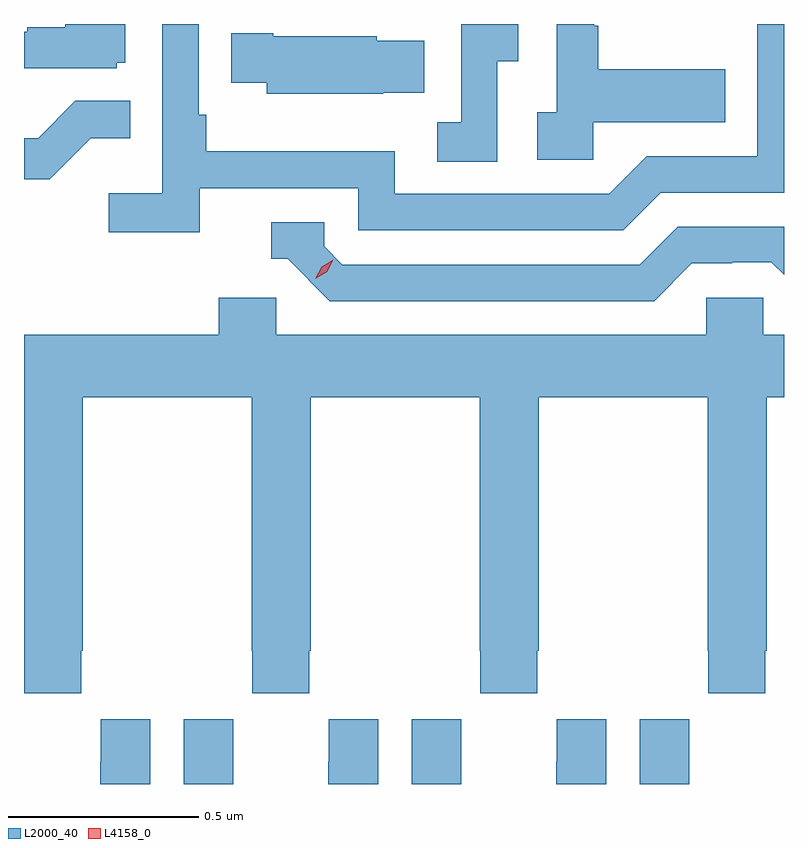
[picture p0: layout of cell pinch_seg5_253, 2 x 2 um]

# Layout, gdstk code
import gdstk
lib = gdstk.Library(unit=1e-6, precision=1e-09)
def P(c, l, *ps):  # polygons
    for p in ps: c.add(gdstk.Polygon(p, *l))
L2000_40 = (2000, 40)
L4158_0 = (4158, 0)

pinch_seg5_253 = lib.new_cell('pinch_seg5_253')
P(pinch_seg5_253, L2000_40, [(949.254,909.592),(949.309,909.592),(949.309,909.69),(949.158,909.69),(949.158,909.431),(949.095,909.431),(949.095,909.328),(949.254,909.328)],
  [(949.506,909.431),(949.853,909.431),(949.853,909.571),(949.519,909.571),(949.519,909.686),(949.509,909.686),(949.509,909.69),(949.41,909.69),(949.41,909.458),(949.359,909.458),(949.359,909.333),(949.506,909.333)],
  [(948.252,909.588),(948.274,909.588),(948.274,909.69),(948.116,909.69),(948.116,909.682),(948.017,909.682),(948.017,909.669),(948.008,909.669),(948.008,909.573),(948.252,909.573)],
  [(948.47,909.258),(948.888,909.258),(948.888,909.147),(949.585,909.147),(949.684,909.246),(950.008,909.246),(950.008,909.69),(949.938,909.69),(949.938,909.342),(949.647,909.342),(949.548,909.243),(948.984,909.243),(948.984,909.355),(948.488,909.355),(948.488,909.451),(948.468,909.451),(948.468,909.69),(948.372,909.69),(948.372,909.244),(948.231,909.244),(948.231,909.142),(948.47,909.142)],
  [(948.953,909.509),(949.061,909.509),(949.061,909.646),(948.936,909.646),(948.936,909.658),(948.664,909.658),(948.664,909.666),(948.553,909.666),(948.553,909.536),(948.647,909.536),(948.647,909.506),(948.953,909.506)],
  [(948.183,909.389),(948.287,909.389),(948.287,909.488),(948.143,909.488),(948.045,909.39),(948.008,909.39),(948.008,909.282),(948.076,909.282)],
  [(949.765,909.06),(949.872,909.06),(949.872,909.063),(949.975,909.063),(950.008,909.03),(950.008,909.156),(949.728,909.156),(949.629,909.057),(948.846,909.057),(948.798,909.105),(948.798,909.168),(948.659,909.168),(948.659,909.072),(948.702,909.072),(948.813,908.961),(949.666,908.961)],
  [(948.159,908.041),(948.162,908.041),(948.162,908.708),(948.607,908.708),(948.607,908.041),(948.609,908.041),(948.609,907.929),(948.759,907.929),(948.759,908.041),(948.762,908.041),(948.762,908.708),(949.207,908.708),(949.207,908.041),(949.209,908.041),(949.209,907.929),(949.359,907.929),(949.359,908.041),(949.362,908.041),(949.362,908.708),(949.807,908.708),(949.807,908.041),(949.809,908.041),(949.809,907.929),(949.959,907.929),(949.959,908.041),(949.962,908.041),(949.962,908.708),(950.008,908.708),(950.008,908.872),(949.953,908.872),(949.953,908.97),(949.803,908.97),(949.803,908.872),(948.672,908.872),(948.672,908.97),(948.521,908.97),(948.521,908.872),(948.008,908.872),(948.008,908.041),(948.009,908.041),(948.009,907.929),(948.159,907.929)],
  [(948.559,907.748),(948.558,907.748),(948.558,907.861),(948.428,907.861),(948.428,907.69),(948.559,907.69)],
  [(949.54,907.861),(949.41,907.861),(949.41,907.748),(949.409,907.748),(949.409,907.69),(949.54,907.69)],
  [(949.759,907.748),(949.758,907.748),(949.758,907.861),(949.628,907.861),(949.628,907.69),(949.759,907.69)],
  [(949.159,907.748),(949.158,907.748),(949.158,907.861),(949.028,907.861),(949.028,907.69),(949.159,907.69)],
  [(948.94,907.861),(948.81,907.861),(948.81,907.748),(948.809,907.748),(948.809,907.69),(948.94,907.69)],
  [(948.34,907.861),(948.21,907.861),(948.21,907.748),(948.209,907.748),(948.209,907.69),(948.34,907.69)])
P(pinch_seg5_253, L4158_0, [(948.775,909.019),(948.775,909.019),(948.791,909.051),(948.822,909.07),(948.822,909.07),(948.822,909.07),(948.806,909.038),(948.775,909.019)])

lib.write_gds('pinch_seg5_253.gds')
